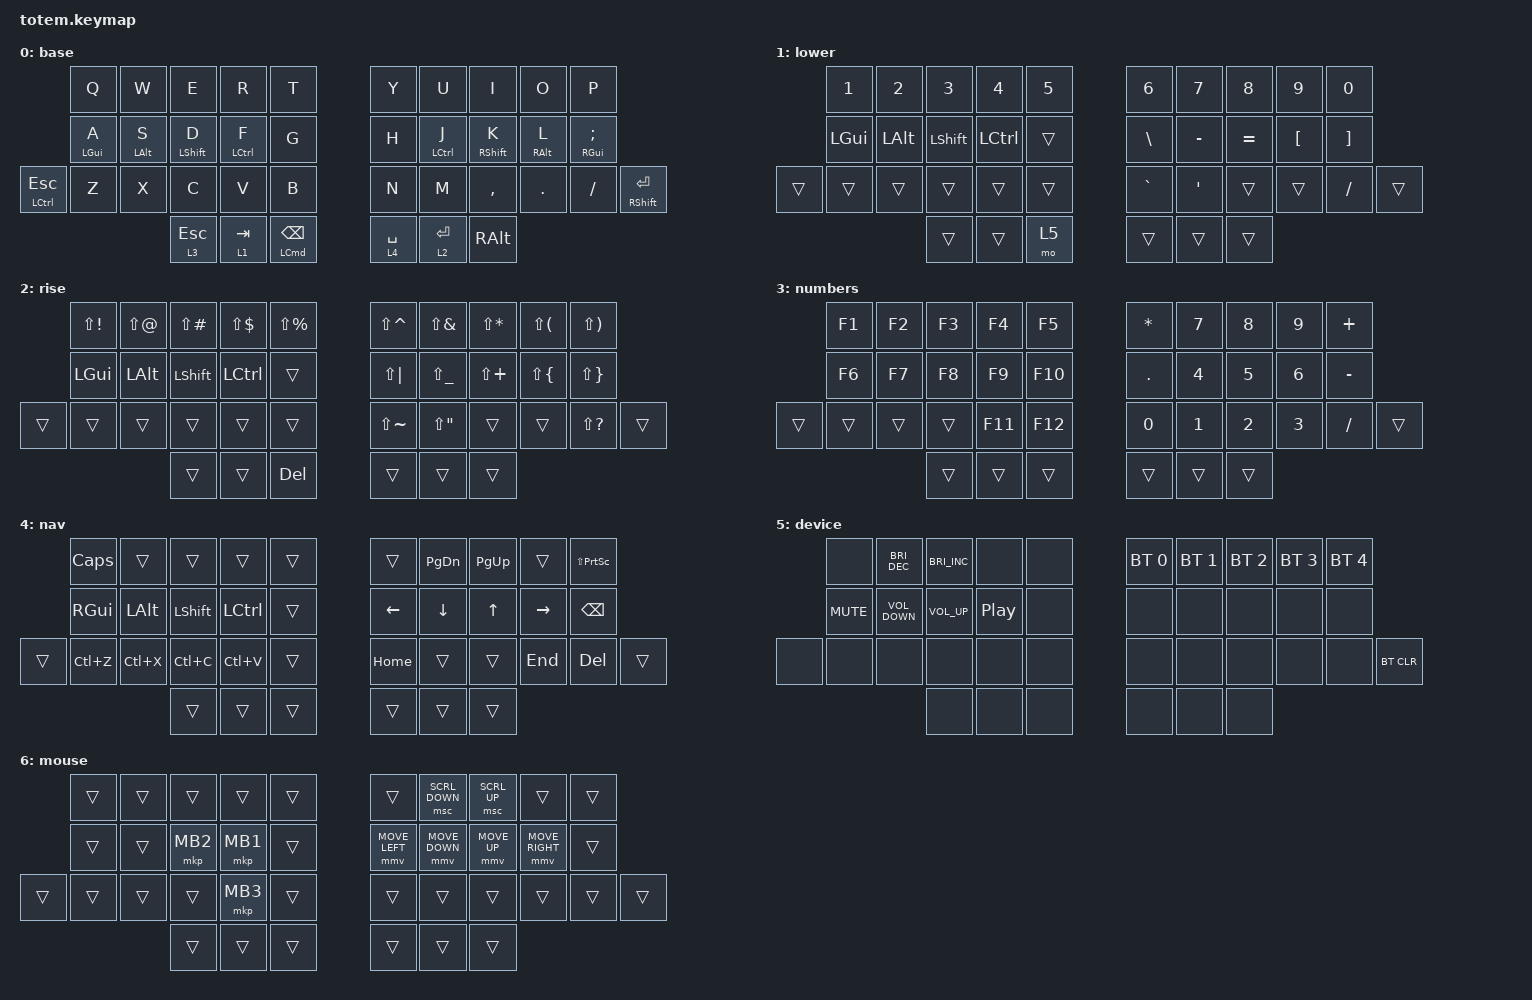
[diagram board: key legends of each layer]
//
//                                                        ▀▀▀▀▀     ▀▀▀▀▀          ▀▀█▀▀
//                                                        ▄▀▀▀▄  ▄  ▄▀▀▀▄  ▄  ▄▀▀▀▄  █  ▄▀▀▀▄
//                                                        █   █  █  █   █  █  █   █  █  █   █
//                                                         ▀▀▀   █   ▀▀▀   █   ▀▀▀   ▀   ▀▀▀
//                                                               █      ▄▄▄█▄▄▄    █   █  
//                                                               ▀      █  █  █     █▄█
//                                                             ▀▀▀▀▀    █  █  █      ▀
//                                                                      ▀  ▀  ▀
//
// ▄▄▄▄▄▄▄▄▄▄▄▄▄▄▄▄▄▄▄▄▄▄▄▄▄▄▄▄▄▄▄▄▄▄▄▄▄▄▄▄▄▄▄▄▄▄▄▄▄▄▄▄▄▄▄▄▄▄▄▄▄▄▄▄▄▄▄▄▄▄▄▄▄▄▄▄▄▄▄▄▄▄▄▄▄▄▄▄▄▄▄▄▄▄▄▄▄▄▄▄▄▄▄▄▄▄▄▄▄▄▄▄▄▄▄▄▄▄▄▄▄▄▄▄▄▄▄▄▄▄▄▄▄▄▄▄▄▄▄▄▄▄▄▄▄▄▄▄▄

#include <behaviors.dtsi>
#include <dt-bindings/zmk/bt.h>
#include <dt-bindings/zmk/keys.h>
#include <dt-bindings/zmk/pointing.h>

&lt {
    tapping-term-ms = <200>;
    quick-tap-ms = <175>;
};

/ {
    behaviors {
        hat_permisive: hat_permisive {
            compatible = "zmk,behavior-hold-tap";
            label = "HAT_PERMISIVE";
            bindings = <&kp>, <&kp>;

            #binding-cells = <2>;
            tapping-term-ms = <200>;
            quick-tap-ms = <175>;
            flavor = "balanced";
        };

        hml: home_row_mod_left {
            compatible = "zmk,behavior-hold-tap";
            #binding-cells = <2>;
            flavor = "balanced";
            require-prior-idle-ms = <150>;
            tapping-term-ms = <200>;
            quick-tap-ms = <175>;
            bindings = <&kp>, <&kp>;

            hold-trigger-on-release;
        };

        hmr: home_row_mod_right {
            compatible = "zmk,behavior-hold-tap";
            #binding-cells = <2>;
            flavor = "balanced";
            require-prior-idle-ms = <150>;
            tapping-term-ms = <200>;
            quick-tap-ms = <175>;
            bindings = <&kp>, <&kp>;

            hold-trigger-on-release;
        };

        thumb_mt: thumb_mod_tap {
            compatible = "zmk,behavior-hold-tap";
            #binding-cells = <2>;
            flavor = "balanced";
            tapping-term-ms = <200>;
            quick-tap-ms = <175>;
            bindings = <&kp>, <&kp>;
        };

        thumb_lt: thumb_layer_tap {
            compatible = "zmk,behavior-hold-tap";
            #binding-cells = <2>;
            flavor = "balanced";
            tapping-term-ms = <220>;
            quick-tap-ms = <175>;
            bindings = <&mo>, <&kp>;
        };
    };

    keymap {
        compatible = "zmk,keymap";

        // base

        base {
            bindings = <
                  &kp Q        &kp W        &kp E               &kp R            &kp T                               &kp Y              &kp U              &kp I          &kp O        &kp P
                  &hml LGUI A  &hml LALT S  &hml LSHFT D        &hml LCTRL F     &kp G                               &kp H              &hmr LCTRL J       &hmr RSHFT K   &hmr RALT L  &hmr RGUI SEMI
&mt LCTRL ESCAPE  &kp Z        &kp X        &kp C               &kp V            &kp B                               &kp N              &kp M              &kp COMMA      &kp DOT      &kp FSLH        &thumb_mt RIGHT_SHIFT ENTER
                                            &thumb_lt 3 ESCAPE  &thumb_lt 1 TAB  &thumb_mt LEFT_COMMAND BACKSPACE    &thumb_lt 4 SPACE  &thumb_lt 2 ENTER  &kp RIGHT_ALT
            >;
        };

        lower {
            bindings = <
        &kp NUMBER_1  &kp NUMBER_2  &kp NUMBER_3  &kp NUMBER_4  &kp N5    &kp NUMBER_6   &kp N7     &kp N8     &kp N9    &kp N0
        &kp LEFT_GUI  &kp LALT      &kp LSHFT     &kp LCTRL     &trans    &kp BACKSLASH  &kp MINUS  &kp EQUAL  &kp LBKT  &kp RBKT
&trans  &trans        &trans        &trans        &trans        &trans    &kp GRAVE      &kp SQT    &trans     &trans    &kp SLASH  &trans
                                    &trans        &trans        &mo 5     &trans         &trans     &trans
            >;
        };

        rise {
            bindings = <
        &kp LS(EXCL)  &kp LS(AT)  &kp LS(POUND)  &kp LS(DLLR)  &kp LS(PRCNT)    &kp LS(CARET)  &kp LS(AMPS)   &kp LS(STAR)  &kp LS(LPAR)  &kp LS(RPAR)
        &kp LEFT_GUI  &kp LALT    &kp LSHFT      &kp LCTRL     &trans           &kp LS(PIPE)   &kp LS(UNDER)  &kp LS(PLUS)  &kp LS(LBRC)  &kp LS(RBRC)
&trans  &trans        &trans      &trans         &trans        &trans           &kp LS(TILDE)  &kp LS(DQT)    &trans        &trans        &kp LS(QMARK)  &trans
                                  &trans         &trans        &kp DELETE       &trans         &trans         &trans
            >;
        };

        numbers {
            bindings = <
        &kp F1  &kp F2  &kp F3  &kp F4   &kp F5     &kp STAR  &kp N7  &kp N8  &kp N9  &kp PLUS
        &kp F6  &kp F7  &kp F8  &kp F9   &kp F10    &kp DOT   &kp N4  &kp N5  &kp N6  &kp MINUS
&trans  &trans  &trans  &trans  &kp F11  &kp F12    &kp N0    &kp N1  &kp N2  &kp N3  &kp FSLH   &trans
                        &trans  &trans   &trans     &trans    &trans  &trans
            >;
        };

        nav {
            bindings = <
        &kp CAPS   &trans     &trans     &trans     &trans    &trans    &kp PG_DN  &kp PG_UP  &trans     &kp LS(PRINTSCREEN)
        &kp RGUI   &kp LALT   &kp LSHFT  &kp LCTRL  &trans    &kp LEFT  &kp DOWN   &kp UP     &kp RIGHT  &kp BSPC
&trans  &kp LC(Z)  &kp LC(X)  &kp LC(C)  &kp LC(V)  &trans    &kp HOME  &trans     &trans     &kp END    &kp DEL              &trans
                              &trans     &trans     &trans    &trans    &trans     &trans
            >;
        };

        device {
            bindings = <
       &none       &kp C_BRIGHTNESS_DEC  &kp C_BRIGHTNESS_INC  &none             &none    &bt BT_SEL 0  &bt BT_SEL 1  &bt BT_SEL 2  &bt BT_SEL 3  &bt BT_SEL 4
       &kp K_MUTE  &kp C_VOLUME_DOWN     &kp C_VOLUME_UP       &kp C_PLAY_PAUSE  &none    &none         &none         &none         &none         &none
&none  &none       &none                 &none                 &none             &none    &none         &none         &none         &none         &none         &bt BT_CLR
                                         &none                 &none             &none    &none         &none         &none
            >;
        };

        mouse {
            bindings = <
        &trans  &trans  &trans    &trans    &trans    &trans          &msc SCRL_DOWN  &msc SCRL_UP  &trans           &trans
        &trans  &trans  &mkp MB2  &mkp MB1  &trans    &mmv MOVE_LEFT  &mmv MOVE_DOWN  &mmv MOVE_UP  &mmv MOVE_RIGHT  &trans
&trans  &trans  &trans  &trans    &mkp MB3  &trans    &trans          &trans          &trans        &trans           &trans  &trans
                        &trans    &trans    &trans    &trans          &trans          &trans
            >;
        };

        extra3 { status = "reserved"; };

        extra1 { status = "reserved"; };

        extra2 { status = "reserved"; };
    };

    conditional_layers {
        compatible = "zmk,conditional-layers";

        device {
            if-layers = <1 2>;
            then-layer = <6>;
        };
    };
};
